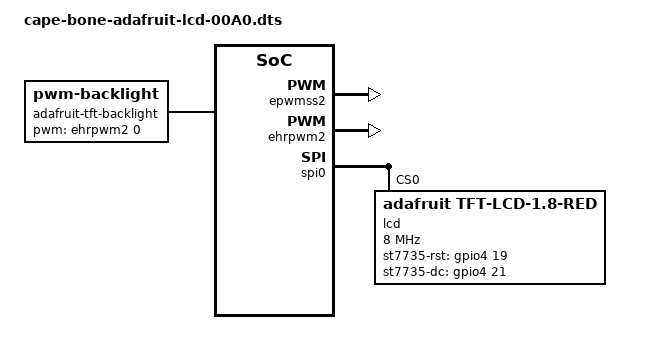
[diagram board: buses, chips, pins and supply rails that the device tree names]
/*
* Copyright (C) 2013 Matt Ranostay <mranostay@gmail.com>
*
* This program is free software; you can redistribute it and/or modify
* it under the terms of the GNU General Public License version 2 as
* published by the Free Software Foundation.
*/
/dts-v1/;
/plugin/;

/*
 * Pin assignments
 *
 * Module      Connector
 * LITE    <-  P8.19
 * MISO    ->  P9.29
 * SCK     <-  P9.31
 * MOSI    <-  P9.30
 * TFT_CS  <-  P9.28
 * CARD_CS <-  NC
 * D/C     <-  P9.25
 * RESET   <-  P9.27
 *
 */

/ {
       compatible = "ti,beaglebone", "ti,beaglebone-black";
       part-number = "BB-BONE-TFT-01";
       version = "00A0";

       fragment@0 {
               target = <&am33xx_pinmux>;
               __overlay__ {
			pwm_backlight_pins: pinmux_pwm_backlight_pins {
				pinctrl-single,pins = <
					0x020  0x4      /* gpmc_ad8.gpio0_22 | MODE4 */
				>;
			};

			bone_adafruit_lcd_pins: pinmux_bone_adafruit_lcd_pins {
				pinctrl-single,pins = <
					0x1a4 0x17      /* mcasp0_fsr.gpio3_19, OUTPUT_PULLUP | MODE7 */
					0x1ac 0x17      /* mcasp0_ahclkx.gpio3_21, OUTPUT_PULLUP | MODE7 */
				>;
			};

			bone_adafruit_spi1_pins: pinmux_adafruit_spi1_pins {
				pinctrl-single,pins = <
					0x190 0x33	/* mcasp0_aclkx.spi1_sclk, INPUT_PULLUP | MODE3 */
					0x194 0x33	/* mcasp0_fsx.spi1_d0, INPUT_PULLUP | MODE3 */
					0x198 0x13	/* mcasp0_axr0.spi1_d1, OUTPUT_PULLUP | MODE3 */
					0x19c 0x13	/* mcasp0_ahclkr.spi1_cs0, OUTPUT_PULLUP | MODE3 */
				>;
			};
		};
	};

	fragment@1 {
		target = <&epwmss2>;
		__overlay__ {
			status = "okay";
		};
	};

	fragment@2 {
		target = <&ehrpwm2>;
		__overlay__ {
			status = "okay";
		};
	};


	fragment@3 {
		target = <&spi0>;

		__overlay__ {
			#address-cells = <1>;
			#size-cells = <0>;

			status		= "okay";
			pinctrl-names	= "default";
			pinctrl-0	= <&bone_adafruit_spi1_pins>;

			lcd@0 {
				#address-cells = <1>;
				#size-cells = <0>;

				compatible = "adafruit,tft-lcd-1.8-red", "sitronix,st7735";
				reg = <0>;

				spi-max-frequency = <8000000>;
				spi-cpol;
				spi-cpha;

				pinctrl-names = "default";
				pinctrl-0 = <&bone_adafruit_lcd_pins>;

				st7735-rst = <&gpio4 19 0>;
				st7735-dc = <&gpio4 21 0>;
			};
		};
	};

	fragment@4 {
		target = <&ocp>;

		/* avoid stupid warning */
		#address-cells = <1>;
		#size-cells = <1>;

		__overlay__ {
			adafruit-tft-backlight {
				compatible	= "pwm-backlight";
				pinctrl-names	= "default";
				pinctrl-0	= <&pwm_backlight_pins>;

				pwms = <&ehrpwm2 0 500000 0>;

				pwm-names = "st7735fb";
				brightness-levels = <0 1 2 3 4 5 6 7 8 9 10 11 12 13 14 15 16 17 18 19 20 21 22 23 24 25 26 27 28 29 30 31 32 33 34 35 36 37 38 39 40 41 42 43 44 45 46 47 48 49 50 51 52 53 54 55 56 57 58 59 60 61 62 63 64 65 66 67 68 69 70 71 72 73 74 75 76 77 78 79 80 81 82 83 84 85 86 87 88 89 90 91 92 93 94 95 96 97 98 99 100>;
				default-brightness-level = <50>; /* index to the array above */
			};
		};
	};

};
